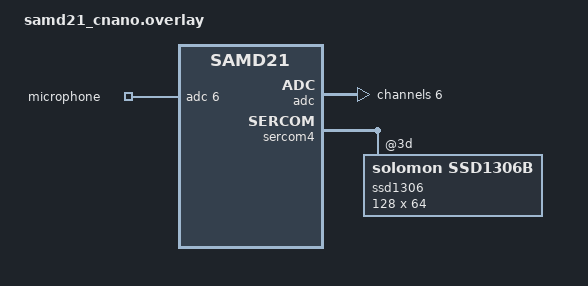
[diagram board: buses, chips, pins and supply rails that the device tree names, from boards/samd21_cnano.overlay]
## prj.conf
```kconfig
CONFIG_ADC=y
CONFIG_I2C=y
CONFIG_DISPLAY=y
CONFIG_CHARACTER_FRAMEBUFFER=y
CONFIG_HEAP_MEM_POOL_SIZE=2048
```

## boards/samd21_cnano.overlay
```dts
/*
 * SPDX-License-Identifier: Apache-2.0
*/

/ {
	chosen {
		zephyr,display = &ssd1306;
	};

	zephyr,user {
        io-channels = <&adc 6>;
        io-channel-names = "microphone";
    };
};

&adc {
    #address-cells = <1>;
    #size-cells = <0>;

    channel@6 {
        reg = <6>;
        zephyr,gain = "ADC_GAIN_1";
        zephyr,reference = "ADC_REF_VDD_1_2";
        zephyr,acquisition-time = <ADC_ACQ_TIME_DEFAULT>;
        zephyr,resolution = <12>;
        zephyr,input-positive = <6>;
    };
};

&sercom4 {
	ssd1306: ssd1306@3d {
		compatible = "solomon,ssd1306b";
		reg = <0x3d>;
		width = <128>;
		height = <64>;
		segment-offset = <0>;
		page-offset = <0>;
		display-offset = <0>;
		multiplex-ratio = <63>;
		segment-remap;
		com-invdir;
		prechargep = <0x22>;
	};
};
```

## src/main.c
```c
/* SPDX-License-Identifier: Apache-2.0 */

#include <stdio.h>
#include <stdint.h>

#include <zephyr/device.h>
#include <zephyr/devicetree.h>
#include <zephyr/display/cfb.h>
#include <zephyr/drivers/adc.h>
#include <zephyr/drivers/display.h>
#include <zephyr/kernel.h>
#include <zephyr/sys/printk.h>

#define MICROPHONE_NODE DT_PATH(zephyr_user)

#define SAMPLE_COUNT 64U
#define UPDATE_PERIOD K_MSEC(250)
#define BAR_FULL_SCALE 1024U

#if !DT_NODE_EXISTS(MICROPHONE_NODE) || !DT_NODE_HAS_PROP(MICROPHONE_NODE, io_channels)
#error "No microphone ADC channel is defined"
#endif

static const struct adc_dt_spec microphone = ADC_DT_SPEC_GET_BY_IDX(MICROPHONE_NODE, 0);

static void show_reading(const struct device *display, uint16_t level)
{
	uint16_t width = cfb_get_display_parameter(display, CFB_DISPLAY_WIDTH);
	uint16_t height = cfb_get_display_parameter(display, CFB_DISPLAY_HEIGHT);
	uint8_t font_width;
	uint8_t font_height;
	struct cfb_position start;
	struct cfb_position end;
	uint16_t fill;
	char line[16];

	cfb_get_font_size(display, 0, &font_width, &font_height);
	cfb_framebuffer_clear(display, false);

	cfb_print(display, "MICROPHONE", 0, 0);

	snprintf(line, sizeof(line), "PK-PK: %u", level);
	cfb_print(display, line, 0, 2 * font_height);

	start.x = 0;
	start.y = 3 * font_height + 2;
	end.x = width - 1U;
	end.y = height - 1U;
	cfb_draw_rect(display, &start, &end);

	fill = (uint16_t)(((width - 4U) * MIN(level, BAR_FULL_SCALE)) / BAR_FULL_SCALE);
	if (fill > 0U) {
		cfb_invert_area(display, start.x + 2, start.y + 2, fill,
				end.y - start.y - 3U);
	}

	cfb_framebuffer_finalize(display);
}

int main(void)
{
	const struct device *const display = DEVICE_DT_GET(DT_CHOSEN(zephyr_display));
	uint16_t sample;
	struct adc_sequence sequence = {
		.buffer = &sample,
		.buffer_size = sizeof(sample),
	};
	int ret;

	if (!adc_is_ready_dt(&microphone)) {
		printk("ADC controller %s not ready\n", microphone.dev->name);
		return 0;
	}

	if (!device_is_ready(display)) {
		printk("OLED not ready\n");
		return 0;
	}

	ret = cfb_framebuffer_init(display);
	if (ret != 0) {
		printk("Framebuffer init failed (%d)\n", ret);
		return 0;
	}

	ret = display_blanking_off(display);
	if (ret != 0 && ret != -ENOSYS) {
		printk("OLED enable failed (%d)\n", ret);
		return 0;
	}

	ret = adc_channel_setup_dt(&microphone);
	if (ret != 0) {
		printk("Microphone ADC setup failed (%d)\n", ret);
		return 0;
	}

	adc_sequence_init_dt(&microphone, &sequence);

	while (true) {
		uint16_t minimum = UINT16_MAX;
		uint16_t maximum = 0U;

		for (uint32_t index = 0U; index < SAMPLE_COUNT; index++) {
			ret = adc_read_dt(&microphone, &sequence);
			if (ret != 0) {
				printk("Microphone ADC read failed (%d)\n", ret);
				break;
			}

			if (sample < minimum) {
				minimum = sample;
			}
			if (sample > maximum) {
				maximum = sample;
			}
		}

		if (ret == 0) {
			uint16_t level = (uint16_t)(maximum - minimum);

			show_reading(display, level);
		}

		k_sleep(UPDATE_PERIOD);
	}

	return 0;
}
```
